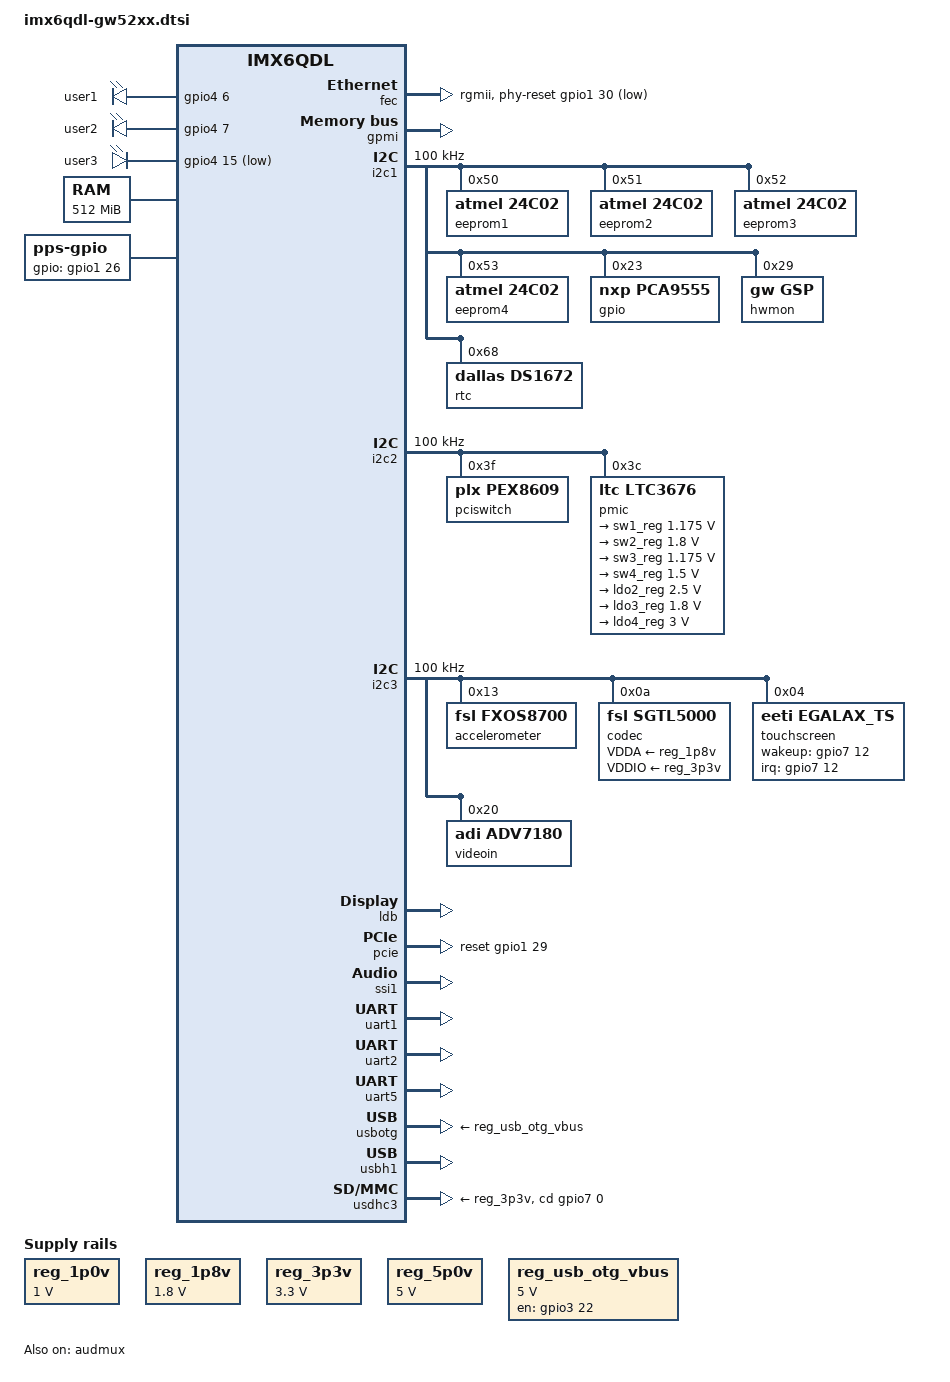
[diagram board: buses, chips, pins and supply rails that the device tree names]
/*
 * Copyright 2013 Gateworks Corporation
 *
 * The code contained herein is licensed under the GNU General Public
 * License. You may obtain a copy of the GNU General Public License
 * Version 2 or later at the following locations:
 *
 * http://www.opensource.org/licenses/gpl-license.html
 * http://www.gnu.org/copyleft/gpl.html
 */

/ {
	/* these are used by bootloader for disabling nodes */
	aliases {
		ethernet0 = &fec;
		led0 = &led0;
		led1 = &led1;
		led2 = &led2;
		nand = &gpmi;
		ssi0 = &ssi1;
		usb0 = &usbh1;
		usb1 = &usbotg;
		usdhc2 = &usdhc3;
	};

	chosen {
		bootargs = "console=ttymxc1,115200";
	};

	leds {
		compatible = "gpio-leds";

		led0: user1 {
			label = "user1";
			gpios = <&gpio4 6 0>; /* 102 -> MX6_PANLEDG */
			default-state = "on";
			linux,default-trigger = "heartbeat";
		};

		led1: user2 {
			label = "user2";
			gpios = <&gpio4 7 0>; /* 103 -> MX6_PANLEDR */
			default-state = "off";
		};

		led2: user3 {
			label = "user3";
			gpios = <&gpio4 15 1>; /* 111 - MX6_LOCLED# */
			default-state = "off";
		};
	};

	memory {
		reg = <0x10000000 0x20000000>;
	};

	pps {
		compatible = "pps-gpio";
		gpios = <&gpio1 26 0>;
		status = "okay";
	};

	regulators {
		compatible = "simple-bus";
		#address-cells = <1>;
		#size-cells = <0>;

		reg_1p0v: regulator@0 {
			compatible = "regulator-fixed";
			reg = <0>;
			regulator-name = "1P0V";
			regulator-min-microvolt = <1000000>;
			regulator-max-microvolt = <1000000>;
			regulator-always-on;
		};

		/* remove this fixed regulator once ltc3676__sw2 driver available */
		reg_1p8v: regulator@1 {
			compatible = "regulator-fixed";
			reg = <1>;
			regulator-name = "1P8V";
			regulator-min-microvolt = <1800000>;
			regulator-max-microvolt = <1800000>;
			regulator-always-on;
		};

		reg_3p3v: regulator@2 {
			compatible = "regulator-fixed";
			reg = <2>;
			regulator-name = "3P3V";
			regulator-min-microvolt = <3300000>;
			regulator-max-microvolt = <3300000>;
			regulator-always-on;
		};

		reg_5p0v: regulator@3 {
			compatible = "regulator-fixed";
			reg = <3>;
			regulator-name = "5P0V";
			regulator-min-microvolt = <5000000>;
			regulator-max-microvolt = <5000000>;
			regulator-always-on;
		};

		reg_usb_otg_vbus: regulator@4 {
			compatible = "regulator-fixed";
			reg = <4>;
			regulator-name = "usb_otg_vbus";
			regulator-min-microvolt = <5000000>;
			regulator-max-microvolt = <5000000>;
			gpio = <&gpio3 22 0>;
			enable-active-high;
		};
	};

	sound {
		compatible = "fsl,imx6q-sabrelite-sgtl5000",
			     "fsl,imx-audio-sgtl5000";
		model = "imx6q-sabrelite-sgtl5000";
		ssi-controller = <&ssi1>;
		audio-codec = <&codec>;
		audio-routing =
			"MIC_IN", "Mic Jack",
			"Mic Jack", "Mic Bias",
			"Headphone Jack", "HP_OUT";
		mux-int-port = <1>;
		mux-ext-port = <4>;
	};
};

&audmux {
	pinctrl-names = "default";
	pinctrl-0 = <&pinctrl_audmux>;
	status = "okay";
};

&fec {
	pinctrl-names = "default";
	pinctrl-0 = <&pinctrl_enet>;
	phy-mode = "rgmii";
	phy-reset-gpios = <&gpio1 30 0>;
	status = "okay";
};

&gpmi {
	pinctrl-names = "default";
	pinctrl-0 = <&pinctrl_gpmi_nand>;
	status = "okay";
};

&i2c1 {
	clock-frequency = <100000>;
	pinctrl-names = "default";
	pinctrl-0 = <&pinctrl_i2c1>;
	status = "okay";

	eeprom1: eeprom@50 {
		compatible = "atmel,24c02";
		reg = <0x50>;
		pagesize = <16>;
	};

	eeprom2: eeprom@51 {
		compatible = "atmel,24c02";
		reg = <0x51>;
		pagesize = <16>;
	};

	eeprom3: eeprom@52 {
		compatible = "atmel,24c02";
		reg = <0x52>;
		pagesize = <16>;
	};

	eeprom4: eeprom@53 {
		compatible = "atmel,24c02";
		reg = <0x53>;
		pagesize = <16>;
	};

	gpio: pca9555@23 {
		compatible = "nxp,pca9555";
		reg = <0x23>;
		gpio-controller;
		#gpio-cells = <2>;
	};

	hwmon: gsc@29 {
		compatible = "gw,gsp";
		reg = <0x29>;
	};

	rtc: ds1672@68 {
		compatible = "dallas,ds1672";
		reg = <0x68>;
	};
};

&i2c2 {
	clock-frequency = <100000>;
	pinctrl-names = "default";
	pinctrl-0 = <&pinctrl_i2c2>;
	status = "okay";

	pciswitch: pex8609@3f {
		compatible = "plx,pex8609";
		reg = <0x3f>;
	};

	pmic: ltc3676@3c {
		compatible = "ltc,ltc3676";
		reg = <0x3c>;

		regulators {
			sw1_reg: ltc3676__sw1 {
				regulator-min-microvolt = <1175000>;
				regulator-max-microvolt = <1175000>;
				regulator-boot-on;
				regulator-always-on;
			};

			sw2_reg: ltc3676__sw2 {
				regulator-min-microvolt = <1800000>;
				regulator-max-microvolt = <1800000>;
				regulator-boot-on;
				regulator-always-on;
			};

			sw3_reg: ltc3676__sw3 {
				regulator-min-microvolt = <1175000>;
				regulator-max-microvolt = <1175000>;
				regulator-boot-on;
				regulator-always-on;
			};

			sw4_reg: ltc3676__sw4 {
				regulator-min-microvolt = <1500000>;
				regulator-max-microvolt = <1500000>;
				regulator-boot-on;
				regulator-always-on;
			};

			ldo2_reg: ltc3676__ldo2 {
				regulator-min-microvolt = <2500000>;
				regulator-max-microvolt = <2500000>;
				regulator-boot-on;
				regulator-always-on;
			};

			ldo3_reg: ltc3676__ldo3 {
				regulator-min-microvolt = <1800000>;
				regulator-max-microvolt = <1800000>;
				regulator-boot-on;
				regulator-always-on;
			};

			ldo4_reg: ltc3676__ldo4 {
				regulator-min-microvolt = <3000000>;
				regulator-max-microvolt = <3000000>;
			};
		};
	};
};

&i2c3 {
	clock-frequency = <100000>;
	pinctrl-names = "default";
	pinctrl-0 = <&pinctrl_i2c3>;
	status = "okay";

	accelerometer: fxos8700@1e {
		compatible = "fsl,fxos8700";
		reg = <0x13>;
	};

	codec: sgtl5000@0a {
		compatible = "fsl,sgtl5000";
		reg = <0x0a>;
		clocks = <&clks 169>;
		VDDA-supply = <&reg_1p8v>;
		VDDIO-supply = <&reg_3p3v>;
	};

	touchscreen: egalax_ts@04 {
		compatible = "eeti,egalax_ts";
		reg = <0x04>;
		interrupt-parent = <&gpio7>;
		interrupts = <12 2>; /* gpio7_12 active low */
		wakeup-gpios = <&gpio7 12 0>;
	};

	videoin: adv7180@20 {
		compatible = "adi,adv7180";
		reg = <0x20>;
	};
};

&iomuxc {
	pinctrl-names = "default";
	pinctrl-0 = <&pinctrl_hog>;

	imx6qdl-gw52xx {
		pinctrl_hog: hoggrp {
			fsl,pins = <
				MX6QDL_PAD_EIM_A19__GPIO2_IO19   0x80000000 /* MEZZ_DIO0 */
				MX6QDL_PAD_EIM_A20__GPIO2_IO18   0x80000000 /* MEZZ_DIO1 */
				MX6QDL_PAD_EIM_D22__GPIO3_IO22   0x80000000 /* OTG_PWR_EN */
				MX6QDL_PAD_EIM_D31__GPIO3_IO31   0x80000000 /* VIDDEC_PDN# */
				MX6QDL_PAD_ENET_TXD0__GPIO1_IO30 0x80000000 /* PHY Reset */
				MX6QDL_PAD_ENET_TXD1__GPIO1_IO29 0x80000000 /* PCIE_RST# */
				MX6QDL_PAD_ENET_RXD0__GPIO1_IO27 0x80000000 /* GPS_PWDN */
				MX6QDL_PAD_ENET_RXD1__GPIO1_IO26 0x80000000 /* GPS_PPS */
				MX6QDL_PAD_GPIO_0__CCM_CLKO1     0x000130b0 /* AUD4_MCK */
				MX6QDL_PAD_GPIO_2__GPIO1_IO02    0x80000000 /* USB_SEL_PCI */
				MX6QDL_PAD_GPIO_17__GPIO7_IO12   0x80000000 /* TOUCH_IRQ# */
				MX6QDL_PAD_KEY_COL0__GPIO4_IO06  0x80000000 /* user1 led */
				MX6QDL_PAD_KEY_ROW0__GPIO4_IO07  0x80000000 /* user2 led */
				MX6QDL_PAD_KEY_ROW4__GPIO4_IO15  0x80000000 /* user3 led */
				MX6QDL_PAD_SD2_CMD__GPIO1_IO11   0x80000000 /* LVDS_TCH# */
				MX6QDL_PAD_SD3_DAT5__GPIO7_IO00  0x80000000 /* SD3_CD# */
				MX6QDL_PAD_SD4_DAT3__GPIO2_IO11  0x80000000 /* UART2_EN# */
			 >;
		};

		pinctrl_audmux: audmuxgrp {
			fsl,pins = <MX6QDL_AUDMUX_PINGRP1>;
		};

		pinctrl_enet: enetgrp {
			fsl,pins = <MX6QDL_ENET_PINGRP1>;
		};

		pinctrl_gpmi_nand: gpminandgrp {
			fsl,pins = <MX6QDL_GPMI_NAND_PINGRP1_NODQS>;
		};

		pinctrl_i2c1: i2c1grp {
			fsl,pins = <MX6QDL_I2C1_PINGRP1>;
		};

		pinctrl_i2c2: i2c2grp {
			fsl,pins = <MX6QDL_I2C2_PINGRP2>;
		};

		pinctrl_i2c3: i2c3grp {
			fsl,pins = <MX6QDL_I2C3_PINGRP2>;
		};

		pinctrl_uart1: uart1grp {
			fsl,pins = <MX6QDL_UART1_PINGRP2>;
		};

		pinctrl_uart2: uart2grp {
			fsl,pins = <MX6QDL_UART2_PINGRP3>;
		};

		pinctrl_uart5: uart5grp {
			fsl,pins = <MX6QDL_UART5_PINGRP1>;
		};

		pinctrl_usbotg: usbotggrp {
			fsl,pins = <MX6QDL_USBOTG_PINGRP1>;
		};

		pinctrl_usdhc3: usdhc3grp {
			fsl,pins = <MX6QDL_USDHC3_PINGRP2>;
		};
	};
};

&ldb {
	status = "okay";
	lvds-channel@0 {
		crtcs = <&ipu1 0>, <&ipu1 1>;
	};
};

&pcie {
	reset-gpio = <&gpio1 29 0>;
	status = "okay";
};

&ssi1 {
	fsl,mode = "i2s-slave";
	status = "okay";
};

&uart1 {
	pinctrl-names = "default";
	pinctrl-0 = <&pinctrl_uart1>;
	status = "okay";
};

&uart2 {
	pinctrl-names = "default";
	pinctrl-0 = <&pinctrl_uart2>;
	status = "okay";
};

&uart5 {
	pinctrl-names = "default";
	pinctrl-0 = <&pinctrl_uart5>;
	status = "okay";
};

&usbotg {
	vbus-supply = <&reg_usb_otg_vbus>;
	pinctrl-names = "default";
	pinctrl-0 = <&pinctrl_usbotg>;
	disable-over-current;
	status = "okay";
};

&usbh1 {
	status = "okay";
};

&usdhc3 {
	pinctrl-names = "default";
	pinctrl-0 = <&pinctrl_usdhc3>;
	cd-gpios = <&gpio7 0 0>;
	vmmc-supply = <&reg_3p3v>;
	status = "okay";
};
